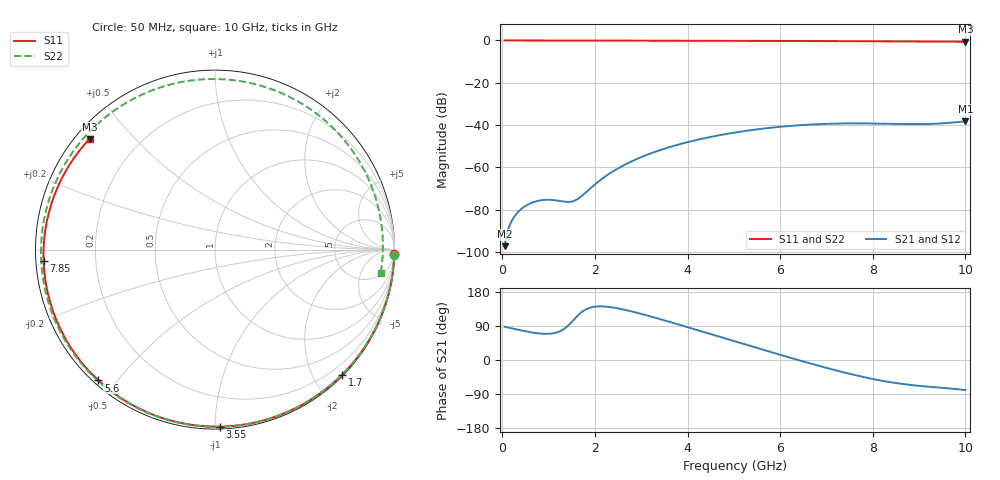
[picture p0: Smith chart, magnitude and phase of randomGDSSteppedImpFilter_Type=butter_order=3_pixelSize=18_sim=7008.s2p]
! freq	dB(S11)	phase(S11)	dB(S12)	phase(S12)
!  dB(S21)	phase(S21)	dB(S22)	phase(S22)
!S-par simulation data
#  GHz  S  DB  R 50
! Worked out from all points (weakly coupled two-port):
!   200 points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, 50 MHz to 10 GHz, reference 50 ohm
!   highest |S21| = -38.22 dB at 10 GHz (marker M1); lowest = -97.2 dB at 50 MHz (marker M2)
!   lowest |S11| = -0.6 dB at 10 GHz (marker M3), VSWR 28.42, Z = 2.01 + j18.9 ohm
!   |S11| at or under -10 dB: nowhere
!   |S22| runs from -0.6 to 0.0 dB; largest |S21 - S12| = 0
!   S11 on the Smith chart (normalised r, x): 50 MHz: 1, -84; 1.7 GHz: 0.02, -2.45; 3.55 GHz: 0.01, -1.03; 5.6 GHz: 0.01, -0.45; 7.85 GHz: 0.02, -0.03; 10 GHz: 0.04, +0.38
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0.05  -0.00 -1.4  -97.24 87.6  -97.24 87.6  -0.00 -1.8
0.4  -0.01 -10.7  -79.84 78.3  -79.84 78.3  -0.02 -14.2
0.6  -0.02 -16.0  -77.07 73.5  -77.07 73.5  -0.02 -21.3
0.8  -0.02 -21.3  -75.69 70.0  -75.69 70.0  -0.03 -28.4
1.45  -0.05 -38.1  -76.35 94.2  -76.35 94.2  -0.06 -51.0
1.7  -0.06 -44.5  -73.78 125.1  -73.78 125.1  -0.07 -59.5
1.75  -0.06 -45.7  -72.86 129.5  -72.86 129.5  -0.08 -61.2
2.15  -0.07 -55.7  -65.46 141.5  -65.46 141.5  -0.09 -74.7
2.5  -0.08 -64.2  -60.45 136.2  -60.45 136.2  -0.11 -86.4
3.4  -0.11 -85.2  -51.89 108.2  -51.89 108.2  -0.15 -116.1
3.55  -0.11 -88.5  -50.83 102.9  -50.83 102.9  -0.16 -121.1
4.35  -0.15 -106.0  -46.28 73.9  -46.28 73.9  -0.20 -147.5
5.05  -0.18 -120.6  -43.43 48.2  -43.43 48.2  -0.25 -171.4
5.6  -0.21 -131.7  -41.76 28.2  -41.76 28.2  -0.29 169.1
6.15  -0.24 -142.6  -40.52 8.4  -40.52 8.4  -0.34 148.5
6.7  -0.28 -153.5  -39.69 -10.8  -39.69 -10.8  -0.38 126.9
7.3  -0.33 -165.2  -39.25 -30.4  -39.25 -30.4  -0.42 102.2
7.85  -0.38 -176.1  -39.22 -46.2  -39.22 -46.2  -0.46 78.7
8.35  -0.43 173.8  -39.40 -57.9  -39.40 -57.9  -0.48 57.3
8.8  -0.48 164.6  -39.55 -65.7  -39.55 -65.7  -0.50 38.4
9.2  -0.52 156.1  -39.47 -70.5  -39.47 -70.5  -0.53 22.1
10  -0.61 138.6  -38.22 -79.2  -38.22 -79.2  -0.61 -8.1
